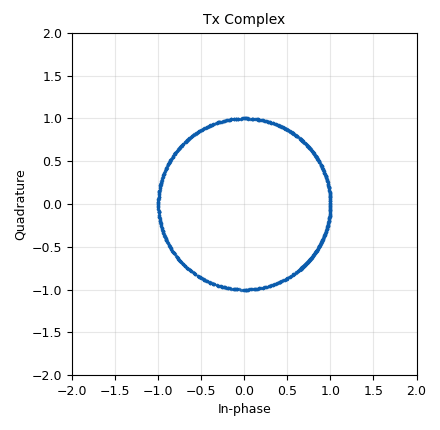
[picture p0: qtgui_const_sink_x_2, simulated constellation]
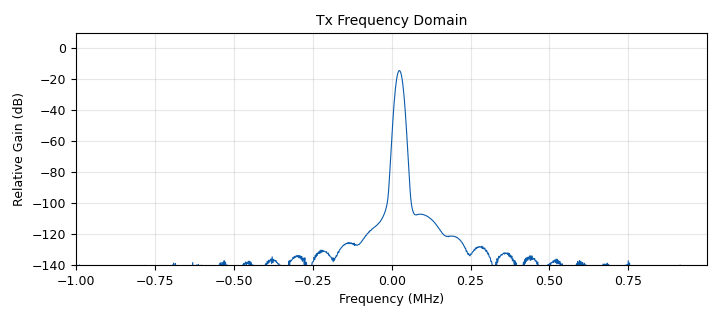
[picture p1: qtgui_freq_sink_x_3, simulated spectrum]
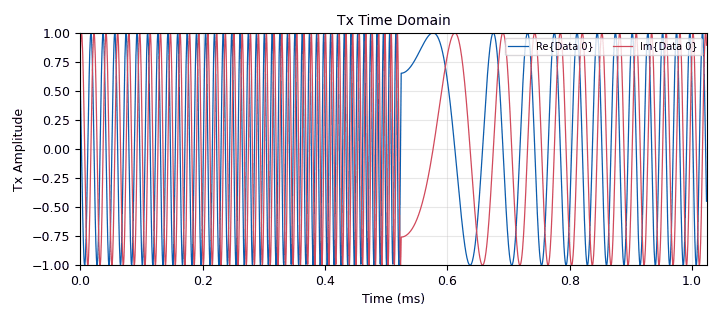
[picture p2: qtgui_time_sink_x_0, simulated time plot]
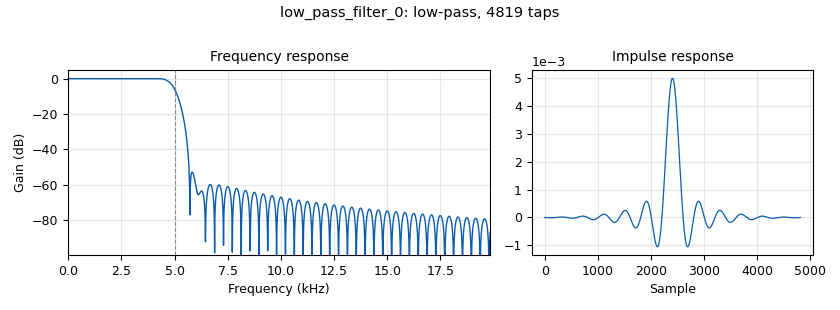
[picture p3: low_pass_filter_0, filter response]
options:
  parameters:
    author: atsy_
    generate_options: qt_gui
    id: audo_fmcw_test
    output_language: python
    title: Not titled yet
  states: {}

blocks:
- name: audio_gain
  id: variable_qtgui_range
  parameters:
    gui_hint: band_rej_row, 0, 1, 1
    start: '0'
    step: '1'
    stop: '100'
    value: '50'
  states: {}
- name: audio_samp_rate
  id: variable
  parameters:
    value: '48000'
  states: {}
- name: band_rej_row
  id: variable
  parameters:
    value: '5'
  states: {}
- name: bw
  id: variable
  parameters:
    value: '100000'
  states: {}
- name: delta_r
  id: variable
  parameters:
    value: 3e8/(2*bw)
  states: {}
- name: freq
  id: variable
  parameters:
    value: 1e3
  states: {}
- name: lpf_row
  id: variable
  parameters:
    value: '4'
  states: {}
- name: pi
  id: variable
  parameters:
    value: math.pi
  states: {}
- name: rx_gain
  id: variable_qtgui_range
  parameters:
    gui_hint: rx_row, 0
    start: '0'
    step: '1'
    stop: '70'
    value: '40'
  states: {}
- name: rx_row
  id: variable
  parameters:
    value: '2'
  states: {}
- name: samp_rate
  id: variable
  parameters:
    value: 2e6
  states: {}
- name: tx_attenuation
  id: variable_qtgui_range
  parameters:
    gui_hint: tx_row, 0
    start: '0'
    step: '1'
    stop: '70'
    value: '10'
  states: {}
- name: tx_row
  id: variable
  parameters:
    value: '0'
  states: {}
- name: vco_sensitivity
  id: variable
  parameters:
    value: 2*bw*pi
  states: {}
- name: analog_sig_source_x_0
  id: analog_sig_source_x
  parameters:
    amp: '1'
    freq: freq
    offset: '0'
    phase: '0'
    samp_rate: samp_rate
    type: float
    waveform: analog.GR_SAW_WAVE
  states: {}
- name: audio_sink_0
  id: audio_sink
  parameters:
    samp_rate: audio_samp_rate
  states: {state: disabled}
- name: band_reject_filter_0
  id: band_reject_filter
  parameters:
    decim: '1'
    gain: '1'
    high_cutoff_freq: '1250'
    low_cutoff_freq: '750'
    samp_rate: samp_rate
    type: fir_filter_ccf
    width: '250'
    win: window.WIN_BLACKMAN
  states: {state: disabled}
- name: blocks_complex_to_real_0
  id: blocks_complex_to_real
  parameters: {}
  states: {state: disabled}
- name: blocks_complex_to_real_1
  id: blocks_complex_to_real
  parameters: {}
  states: {}
- name: blocks_multiply_conjugate_cc_0
  id: blocks_multiply_conjugate_cc
  parameters: {}
  states: {}
- name: blocks_multiply_const_vxx_0
  id: blocks_multiply_const_vxx
  parameters:
    const: audio_gain
    type: complex
  states: {state: disabled}
- name: blocks_vco_c_0
  id: blocks_vco_c
  parameters:
    amplitude: '1.0'
    samp_rate: samp_rate
    sensitivity: vco_sensitivity
  states: {}
- name: iio_pluto_sink_0
  id: iio_pluto_sink
  parameters:
    attenuation1: tx_attenuation
    bandwidth: '2000000'
    buffer_size: '32768'
    cyclic: 'False'
    filter_source: '''Auto'''
    frequency: '2400000000'
    samplerate: int(samp_rate)
    type: fc32
    uri: ip:192.168.2.1
  states: {}
- name: iio_pluto_source_0
  id: iio_pluto_source
  parameters:
    bandwidth: '2000000'
    bbdc: 'True'
    buffer_size: '32768'
    filter_source: '''Auto'''
    frequency: '2400000000'
    gain1: '''manual'''
    manual_gain1: rx_gain
    quadrature: 'True'
    rfdc: 'True'
    samplerate: int(samp_rate)
    type: fc32
    uri: ip:192.168.2.1
  states: {}
- name: import_0
  id: import
  parameters:
    imports: import math
  states: {}
- name: low_pass_filter_0
  id: low_pass_filter
  parameters:
    cutoff_freq: 5e3
    decim: '1'
    gain: '1'
    samp_rate: samp_rate
    type: fir_filter_ccf
    width: 1e3
    win: window.WIN_HAMMING
  states: {}
- name: note_0
  id: note
  parameters:
    comment: |-
      Your current Signal Source (Sawtooth) generates a baseband ramp signal (a sawtooth waveform)
      but it is just a linear ramp in amplitude (voltage). It is not directly frequency-modulated yet.
      A VCO (Complex) block uses this ramp as the control voltage input to create a complex exponential signal
       (e^(j*2π*f(t)*t)), producing an FMCW chirp waveform with frequency changing linearly over time.
    note: Purpose of VCO
  states: {}
- name: note_1
  id: note
  parameters:
    comment: |-
      delta_r = c / 2*bw

      At 10 MHz BW (PlutoSDR Max BW = 20MHz):
      delta_r = 3e8 / (2*10e6) = 15m
    note: Range Resolution
  states: {}
- name: note_2
  id: note
  parameters:
    comment: To get a frequency subtraction (beat frequency)
    note: Mul. Conj.
  states: {}
- name: qtgui_const_sink_x_2
  id: qtgui_const_sink_x
  parameters:
    gui_hint: tx_row+1, 2, 1,1
    name: '"Tx Complex"'
    size: '1024'
    type: complex
  states: {}
- name: qtgui_freq_sink_x_0
  id: qtgui_freq_sink_x
  parameters:
    bw: samp_rate
    fc: '0'
    fftsize: '1024'
    gui_hint: lpf_row, 1, 1, 1
    name: '"LPF Frequency Domain"'
    type: float
  states: {}
- name: qtgui_freq_sink_x_1
  id: qtgui_freq_sink_x
  parameters:
    bw: samp_rate
    fc: '0'
    fftsize: '2048'
    gui_hint: rx_row+1, 1, 1, 1
    label1: Rx Frequency Domain
    name: '"Rx Frequency Domain"'
    norm_window: 'True'
    type: complex
  states: {}
- name: qtgui_freq_sink_x_2
  id: qtgui_freq_sink_x
  parameters:
    bw: samp_rate
    fc: '0'
    fftsize: '1024'
    label1: Bandpass Frequency Domain
    name: '"Bandpass Frequency Domain"'
    type: complex
  states: {state: disabled}
- name: qtgui_freq_sink_x_3
  id: qtgui_freq_sink_x
  parameters:
    bw: samp_rate
    fc: '0'
    fftsize: '1024'
    gui_hint: tx_row+1,1, 1, 1
    name: '"Tx Frequency Domain"'
    type: complex
  states: {}
- name: qtgui_time_sink_x_0
  id: qtgui_time_sink_x
  parameters:
    entags: 'False'
    gui_hint: tx_row+1, 0, 1, 1
    label1: ''
    name: '"Tx Time Domain"'
    size: 1024*2
    srate: samp_rate
    type: complex
    update_time: '0.1'
    ylabel: Tx Amplitude
  states: {}
- name: qtgui_time_sink_x_1
  id: qtgui_time_sink_x
  parameters:
    gui_hint: lpf_row, 0, 1, 1
    label1: ''
    size: '1024'
    srate: samp_rate
    type: float
    yunit: '"LPF Time Domain"'
  states: {}
- name: qtgui_time_sink_x_2
  id: qtgui_time_sink_x
  parameters:
    gui_hint: rx_row+1, 0, 1, 1
    label1: Rx Time Domain
    name: '"Rx Time Domain"'
    size: 1024*2
    srate: samp_rate
    type: complex
  states: {}
- name: qtgui_time_sink_x_3
  id: qtgui_time_sink_x
  parameters:
    label1: ''
    name: '"Bandpass Time Domain"'
    size: '1024'
    srate: samp_rate
    type: complex
  states: {state: disabled}
- name: qtgui_waterfall_sink_x_0
  id: qtgui_waterfall_sink_x
  parameters:
    bw: samp_rate
    fc: '0'
    fftsize: '2048'
    gui_hint: lpf_row,2, 1, 1
    type: float
  states: {}

connections:
- [analog_sig_source_x_0, '0', blocks_vco_c_0, '0']
- [band_reject_filter_0, '0', blocks_complex_to_real_0, '0']
- [band_reject_filter_0, '0', blocks_multiply_const_vxx_0, '0']
- [blocks_complex_to_real_0, '0', audio_sink_0, '0']
- [blocks_complex_to_real_1, '0', qtgui_freq_sink_x_0, '0']
- [blocks_complex_to_real_1, '0', qtgui_time_sink_x_1, '0']
- [blocks_complex_to_real_1, '0', qtgui_waterfall_sink_x_0, '0']
- [blocks_multiply_conjugate_cc_0, '0', low_pass_filter_0, '0']
- [blocks_multiply_conjugate_cc_0, '0', qtgui_freq_sink_x_1, '0']
- [blocks_multiply_conjugate_cc_0, '0', qtgui_time_sink_x_2, '0']
- [blocks_multiply_const_vxx_0, '0', qtgui_freq_sink_x_2, '0']
- [blocks_multiply_const_vxx_0, '0', qtgui_time_sink_x_3, '0']
- [blocks_vco_c_0, '0', blocks_multiply_conjugate_cc_0, '1']
- [blocks_vco_c_0, '0', iio_pluto_sink_0, '0']
- [blocks_vco_c_0, '0', qtgui_const_sink_x_2, '0']
- [blocks_vco_c_0, '0', qtgui_freq_sink_x_3, '0']
- [blocks_vco_c_0, '0', qtgui_time_sink_x_0, '0']
- [iio_pluto_source_0, '0', blocks_multiply_conjugate_cc_0, '0']
- [low_pass_filter_0, '0', band_reject_filter_0, '0']
- [low_pass_filter_0, '0', blocks_complex_to_real_1, '0']

metadata:
  file_format: 1
  grc_version: 3.10.10.0
